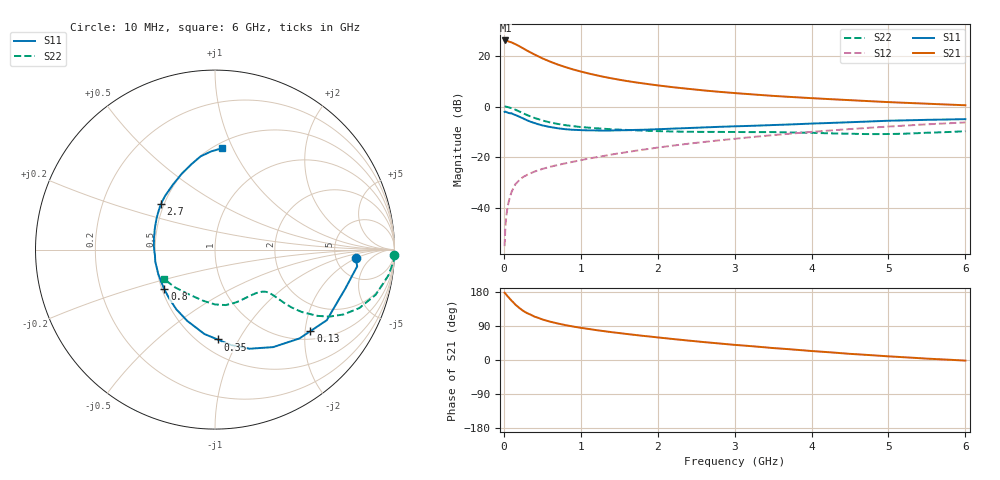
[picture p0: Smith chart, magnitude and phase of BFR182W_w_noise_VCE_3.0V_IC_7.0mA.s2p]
! Infineon Technologies  Discrete & RF Semiconductors
! BFR182W
! VCE =  3.0 V,  IC =  7.0 mA
! Common Emitter S-Parameters:  Jan 2017
# GHz  S  MA  R  50
!  f  S11  S21  S12  S22
! GHz  MAG  ANG  MAG  ANG  MAG  ANG  MAG  ANG
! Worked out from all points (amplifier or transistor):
!   77 points, 10 MHz to 6 GHz, reference 50 ohm
!   highest |S21| = 26.0 dB at 20 MHz (marker M1)
!   |S21| within 3 dB of that: start of sweep to 244.9 MHz
!   unconditionally stable (mu >= 1): 1.202 GHz to 2.777 GHz
!   at 130 MHz: K = 0.22, MSG = 28.2 dB, |S12| = -31.7 dB
!   at 2.2 GHz: K = 1.04, MAG = 10.3 dB, |S12| = -15.4 dB
!   at 6 GHz: K = 0.86, MSG = 3.4 dB, |S12| = -6.3 dB
!   lowest NFmin = 0.95 dB at 450 MHz
!   S11 on the Smith chart (normalised r, x): 10 MHz: 7.84, -1.90; 130 MHz: 1.20, -2.13; 350 MHz: 0.61, -0.82; 800 MHz: 0.51, -0.26; 2.7 GHz: 0.48, +0.29; 6 GHz: 0.55, +0.91
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0.01  0.7851 -3.4  19.66 177.5  0.0018 84.7  0.9974 -1.6
0.02  0.7977 -6.7  19.91 175.2  0.0043 88.4  0.998 -3.5
0.05  0.7586 -16.4  19.34 167.9  0.0108 80.8  0.9773 -8.4
0.1  0.7366 -32.3  18.27 156.5  0.0207 74.4  0.929 -15.8
0.13  0.6994 -40.5  17.36 150.5  0.0261 70.6  0.8906 -19.5
0.15  0.6832 -46.4  16.87 146.2  0.0297 68.8  0.8672 -22.1
0.2  0.6325 -59.2  15.37 137.5  0.0356 65.4  0.8017 -26.8
0.25  0.5851 -70.7  13.96 129.9  0.0412 61.0  0.7397 -30.3
0.3  0.5382 -80.7  12.61 123.9  0.0452 58.7  0.6819 -32.8
0.35  0.5008 -88.4  11.52 119.5  0.0489 57.2  0.6385 -34.2
0.4  0.4739 -97.2  10.51 114.3  0.0527 56.0  0.5956 -35.7
0.5  0.4264 -111.2  8.866 107.1  0.0594 55.5  0.5325 -37.1
0.6  0.3964 -122.9  7.657 101.2  0.0652 55.6  0.4878 -37.6
0.8  0.3587 -141.9  5.969 92.1  0.0765 57.9  0.4303 -37.9
1.1  0.3397 -163.1  4.474 82.0  0.0947 59.7  0.3851 -38.7
1.5  0.3411 176.6  3.367 71.1  0.1203 61.4  0.3516 -41.9
2.1  0.3628 155.3  2.5 57.5  0.1633 61.5  0.3259 -50.8
2.7  0.3936 139.7  2.01 45.5  0.2087 59.6  0.3171 -62.9
3.1  0.4126 130.5  1.793 38.4  0.2407 57.5  0.3151 -71.1
4.1  0.4677 111.8  1.435 22.3  0.3258 50.5  0.3017 -92.5
5.1  0.5301 97.3  1.204 8.5  0.4124 41.4  0.29 -123.3
6  0.5656 86.1  1.059 -1.6  0.4869 32.3  0.3275 -149.8
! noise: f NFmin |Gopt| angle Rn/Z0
0.45  0.95  0.17  35  0.16
0.9  1.04  0.15  63  0.15
1.9  1.57  0.18  174  0.13
2.4  1.84  0.19  -178  0.18
